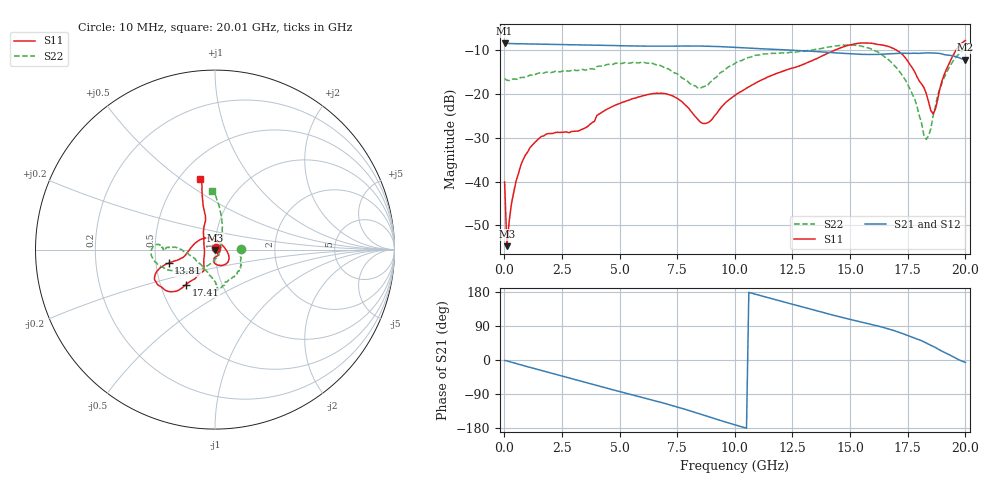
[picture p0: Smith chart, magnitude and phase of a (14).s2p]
! Hittite Microwave Corporation
! 2 Elizabeth Drive
! Chelmsford, MA 01824
! http://www.hittite.com
! Tel: 978-250-3343
! Fax: 978-250-3373
! Device:  HMC424LP3
! Description: 0.5 dB GaAs MMIC 6-Bit Digital Attenuator
! Frequency:  DC -  13.00 GHz
! Package:  LP3  - 3x3 mm Quad Flatpack No-Lead (QFN) Plastic Package: 16 pin
! Ports:  2 RF, 7 DC
!  Pad  1  = Ground
!  Pad  2  = RF IN  = Port 1
!  Pad  3  = Ground
!  Pad  4  = V6
!  Pad  5  = V5
!  Pad  6  = V4
!  Pad  7  = V3
!  Pad  8  = V2
!  Pad  9  = V1
!  Pad 10  = Ground
!  Pad 11  = RF OUT  = Port 2
!  Pad 12  = Ground
!  Pad 15  = VEE
! Control:  -5 Volt control voltage
! State:  12
! Attenuation:  6.0 dB
! Voltages:  Vdd = -5.00 Volts  Idd =  -2.438 mA
!  V1  = 0.00 Volts  I1  =  29.0 uA
!  V2  = 0.00 Volts  I2  =  29.0 uA
!  V3  = -5.00 Volts  I3  =  -1.0 uA
!  V4  = -5.00 Volts  I4  =  -1.0 uA
!  V5  = 0.00 Volts  I5  =  30.0 uA
!  V6  = 0.00 Volts  I6  =  30.0 uA
! Data:  The device was measured on evaluation board 105354-1.
!  Data was collected using a calibrated network analyzer.
!  The evaluation circuit board was modeled and simulated.  This was use
!  to removed the evaluation board circuit from the measured data.
!  The reference plane is the edge of the package pin.
! Misc:  Lot xxxx, Unit 1
!  Application 20120001, Data collected in Application 20090083
! Date Measured:  2009-09-15
! Date:  2012-05-14  MJV
! Note:
!  Hittite supplies this data as a sample of measured data at the package pin
!  for this product.  Your particular data for this product may vary.
!  Data was taken at 25 degrees C.
!  Hittite reserves the right to change this data at anytime.
# GHz S MA R 50
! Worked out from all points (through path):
!   201 points, 10 MHz to 20.01 GHz, reference 50 ohm
!   highest |S21| = -8.55 dB at 10 MHz (marker M1); lowest = -12.3 dB at 20.01 GHz (marker M2)
!   group delay of S21, straight-line fit = 48.2 ps
!   lowest |S11| = -54.7 dB at 110 MHz (marker M3), VSWR 1.00, Z = 50.1 - j0.164 ohm
!   |S11| at or under -10 dB: start of sweep to 14.4 GHz; 16.98 GHz to 19.62 GHz (2.646 GHz wide, 14.5 % of centre)
!   |S22| runs from -30.4 to -8.9 dB; largest |S21 - S12| = 0.0011
!   S11 on the Smith chart (normalised r, x): 10 MHz: 1.01, +0.02; 13.81 GHz: 0.58, -0.10; 17.41 GHz: 0.67, -0.28; 20.01 GHz: 0.63, +0.59
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0.01  0.009869 53.7  0.3737 -1.2  0.3733 -1.3  0.1476 1.3
0.11  0.00184 -62.6  0.3714 -2.4  0.3709 -2.4  0.1418 -2.0
0.31  0.005644 -59.7  0.3701 -5.9  0.3697 -5.9  0.1459 -8.1
0.51  0.01019 -64.0  0.3691 -9.4  0.3689 -9.4  0.1454 -11.9
1.11  0.02425 -58.1  0.3667 -19.5  0.3663 -19.5  0.163 -25.3
1.81  0.0346 -51.3  0.364 -31.1  0.3635 -31.1  0.1753 -35.4
3.41  0.03973 -81.9  0.358 -57.5  0.3577 -57.5  0.1882 -61.6
4.71  0.0718 -94.1  0.3519 -78.6  0.3514 -78.6  0.2145 -82.5
6.71  0.1006 -50.3  0.3457 -110.4  0.3451 -110.4  0.2114 -86.9
7.51  0.08798 -27.5  0.3467 -124.1  0.3462 -124.1  0.1681 -94.5
8.71  0.04565 53.3  0.3462 -146.6  0.3455 -146.6  0.1212 -149.3
10.01  0.09525 142.2  0.3354 -171.2  0.3348 -171.2  0.2207 176.5
13.41  0.2401 -164.3  0.3022 132.2  0.3015 132.2  0.3133 174.7
13.81  0.2695 -163.7  0.2976 125.6  0.2971 125.7  0.3276 174.9
15.51  0.3764 -153.3  0.2792 99.9  0.2789 99.9  0.3464 -169.9
16.71  0.3408 -136.4  0.2832 81.4  0.2828 81.4  0.2376 -148.5
17.41  0.2536 -129.7  0.2873 66.9  0.2871 66.9  0.1421 -127.8
17.81  0.1762 -124.0  0.2881 57.8  0.2878 57.8  0.08657 -109.5
18.31  0.1003 -128.3  0.2905 45.0  0.2901 45.0  0.03012 -28.6
18.61  0.05896 179.7  0.2888 36.0  0.2884 36.1  0.05634 47.4
19.11  0.1695 108.1  0.2767 19.7  0.2764 19.8  0.1566 75.6
20.01  0.4018 101.9  0.2422 -6.4  0.2418 -6.4  0.3286 92.5
